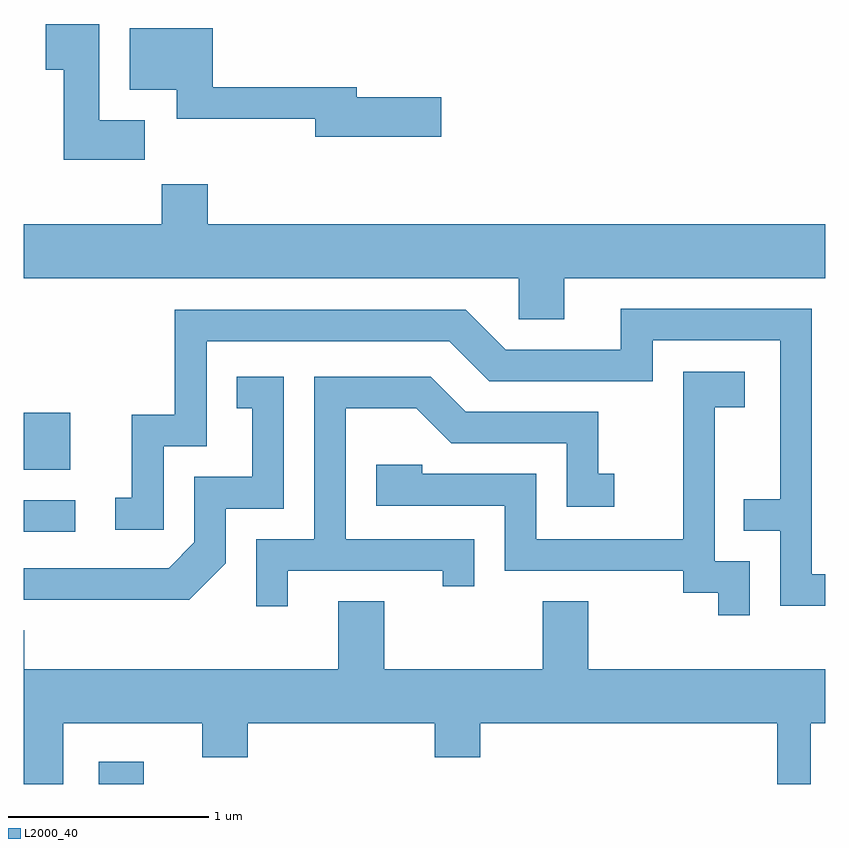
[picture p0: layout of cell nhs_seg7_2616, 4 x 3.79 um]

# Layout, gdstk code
import gdstk
lib = gdstk.Library(unit=1e-6, precision=1e-09)
def R(c, l, rs):  # rectangles x0, y0, x1, y1
    for r in rs: c.add(gdstk.rectangle(r[:2], r[2:], *l))
def P(c, l, *ps):  # polygons
    for p in ps: c.add(gdstk.Polygon(p, *l))
L2000_40 = (2000, 40)

nhs_seg7_2616 = lib.new_cell('nhs_seg7_2616')
R(nhs_seg7_2616, L2000_40, [(265.986,1696.252,266.209,1696.364), (265.611,1697.511,265.868,1697.669), (265.611,1697.821,265.844,1698.104)])
P(nhs_seg7_2616, L2000_40, [(266.214,1699.564),(265.989,1699.564),(265.989,1700.044),(265.721,1700.044),(265.721,1699.816),(265.811,1699.816),(265.811,1699.366),(266.214,1699.366)],
  [(267.694,1699.679),(267.274,1699.679),(267.274,1699.729),(266.554,1699.729),(266.554,1700.024),(266.141,1700.024),(266.141,1699.716),(266.376,1699.716),(266.376,1699.571),(267.066,1699.571),(267.066,1699.481),(267.694,1699.481)],
  [(268.309,1698.776),(269.611,1698.776),(269.611,1699.044),(266.529,1699.044),(266.529,1699.244),(266.301,1699.244),(266.301,1699.044),(265.611,1699.044),(265.611,1698.776),(268.081,1698.776),(268.081,1698.571),(268.309,1698.571)],
  [(269.611,1697.299),(269.544,1697.299),(269.544,1698.624),(268.591,1698.624),(268.591,1698.419),(268.017,1698.419),(267.817,1698.619),(266.366,1698.619),(266.366,1698.094),(266.151,1698.094),(266.151,1697.679),(266.068,1697.679),(266.068,1697.521),(266.309,1697.521),(266.309,1697.936),(266.524,1697.936),(266.524,1698.461),(267.734,1698.461),(267.934,1698.261),(268.749,1698.261),(268.749,1698.466),(269.386,1698.466),(269.386,1697.674),(269.203,1697.674),(269.203,1697.516),(269.386,1697.516),(269.386,1697.141),(269.611,1697.141)],
  [(269.234,1697.364),(269.059,1697.364),(269.059,1698.131),(269.209,1698.131),(269.209,1698.309),(268.901,1698.309),(268.901,1697.474),(268.169,1697.474),(268.169,1697.799),(267.599,1697.799),(267.599,1697.844),(267.371,1697.844),(267.371,1697.641),(268.011,1697.641),(268.011,1697.316),(268.901,1697.316),(268.901,1697.206),(269.076,1697.206),(269.076,1697.093),(269.234,1697.093)],
  [(266.619,1697.354),(266.619,1697.626),(266.909,1697.626),(266.909,1698.284),(266.673,1698.284),(266.673,1698.126),(266.751,1698.126),(266.751,1697.784),(266.461,1697.784),(266.461,1697.457),(266.334,1697.329),(265.611,1697.329),(265.611,1697.171),(266.437,1697.171)],
  [(266.929,1697.316),(267.701,1697.316),(267.701,1697.238),(267.859,1697.238),(267.859,1697.474),(267.219,1697.474),(267.219,1698.126),(267.569,1698.126),(267.744,1697.951),(268.321,1697.951),(268.321,1697.636),(268.558,1697.636),(268.558,1697.799),(268.479,1697.799),(268.479,1698.109),(267.817,1698.109),(267.642,1698.284),(267.061,1698.284),(267.061,1697.474),(266.771,1697.474),(266.771,1697.138),(266.929,1697.138)],
  [(265.809,1696.556),(266.501,1696.556),(266.501,1696.386),(266.729,1696.386),(266.729,1696.556),(267.661,1696.556),(267.661,1696.386),(267.889,1696.386),(267.889,1696.556),(269.371,1696.556),(269.371,1696.252),(269.539,1696.252),(269.539,1696.556),(269.611,1696.556),(269.611,1696.824),(268.429,1696.824),(268.429,1697.164),(268.201,1697.164),(268.201,1696.824),(267.409,1696.824),(267.409,1697.164),(267.181,1697.164),(267.181,1696.824),(265.614,1696.824),(265.614,1697.019),(265.611,1697.019),(265.611,1696.252),(265.809,1696.252)])

lib.write_gds('nhs_seg7_2616.gds')
